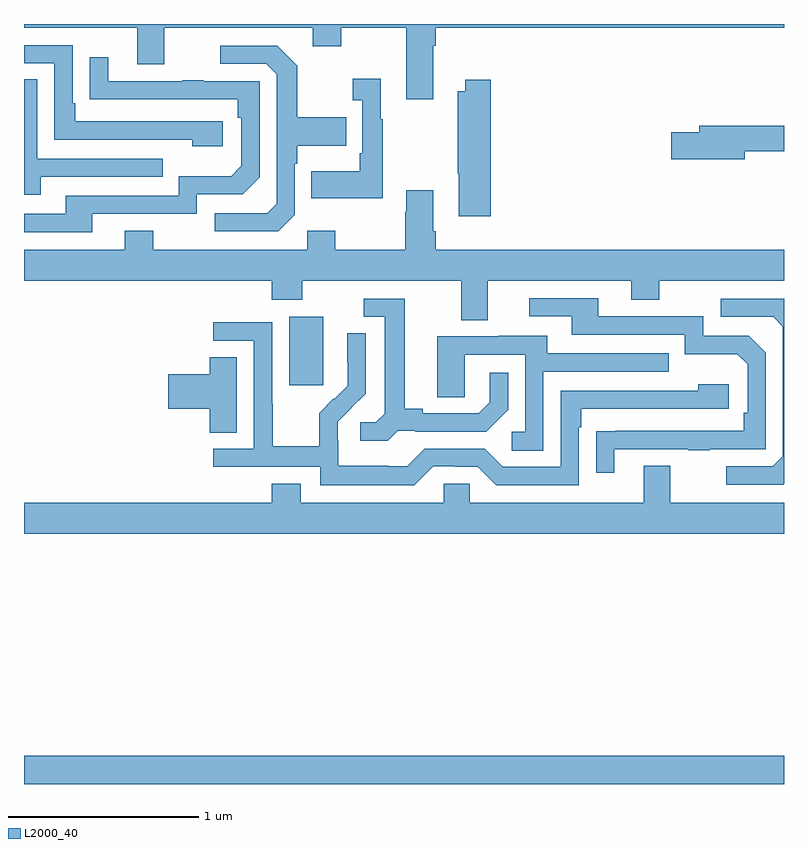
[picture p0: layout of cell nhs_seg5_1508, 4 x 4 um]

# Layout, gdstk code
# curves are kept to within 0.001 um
import gdstk
lib = gdstk.Library(unit=1e-6, precision=1e-09)
def R(c, l, rs):  # rectangles x0, y0, x1, y1
    for r in rs: c.add(gdstk.rectangle(r[:2], r[2:], *l))
def P(c, l, *ps):  # polygons
    for p in ps: c.add(gdstk.Polygon(p, *l))
L2000_40 = (2000, 40)

nhs_seg5_1508 = lib.new_cell('nhs_seg5_1508')
R(nhs_seg5_1508, L2000_40, [(203,832.799,207,832.948), (204.395,834.897,204.574,835.258)])
P(nhs_seg5_1508, L2000_40, [(205.153,836.684),(205.166,836.684),(205.166,836.78),(207,836.78),(207,836.799),(203,836.799),(203,836.78),(203.597,836.78),(203.597,836.586),(203.737,836.586),(203.737,836.78),(204.521,836.78),(204.521,836.681),(204.669,836.681),(204.669,836.78),(205.013,836.78),(205.013,836.403),(205.153,836.403)],
  [(204.046,836.286),(203.269,836.286),(203.269,836.383),(203.256,836.383),(203.256,836.688),(203,836.688),(203,836.592),(203.16,836.592),(203.16,836.19),(203.885,836.19),(203.885,836.156),(204.046,836.156)],
  [(204.426,835.794),(204.426,836.063),(204.439,836.063),(204.439,836.159),(204.695,836.159),(204.695,836.307),(204.439,836.307),(204.439,836.579),(204.333,836.685),(204.033,836.685),(204.033,836.589),(204.276,836.589),(204.33,836.535),(204.33,835.854),(204.279,835.803),(204.003,835.803),(204.003,835.707),(204.339,835.707)],
  [(203.359,835.8),(203.91,835.8),(203.91,835.902),(204.15,835.902),(204.24,835.992),(204.24,836.499),(203.945,836.499),(203.945,836.504),(203.833,836.504),(203.833,836.499),(203.443,836.499),(203.443,836.623),(203.347,836.623),(203.347,836.404),(204.124,836.403),(204.124,836.306),(204.144,836.306),(204.144,836.052),(204.091,835.999),(203.814,835.999),(203.814,835.896),(203.219,835.896),(203.219,835.8),(203,835.8),(203,835.704),(203.359,835.704)],
  [(204.889,836.299),(204.877,836.299),(204.877,836.512),(204.729,836.512),(204.729,836.399),(204.78,836.399),(204.78,836.119),(204.768,836.119),(204.768,836.023),(204.511,836.023),(204.511,835.883),(204.889,835.883)],
  [(203.089,835.995),(203.729,835.995),(203.729,836.091),(203.07,836.091),(203.07,836.507),(203,836.507),(203,835.901),(203.089,835.901)],
  [(205.457,836.506),(205.322,836.506),(205.322,836.446),(205.282,836.446),(205.282,836.011),(205.289,836.011),(205.289,835.788),(205.457,835.788)],
  [(206.794,836.128),(207,836.128),(207,836.264),(206.555,836.264),(206.555,836.228),(206.406,836.228),(206.406,836.086),(206.794,836.086)],
  [(205.441,835.448),(206.195,835.448),(206.195,835.349),(206.343,835.349),(206.343,835.448),(207,835.448),(207,835.612),(205.166,835.612),(205.166,835.708),(205.153,835.708),(205.153,835.924),(205.013,835.924),(205.013,835.811),(205.006,835.811),(205.006,835.612),(204.639,835.612),(204.639,835.711),(204.492,835.711),(204.492,835.612),(203.679,835.612),(203.679,835.711),(203.531,835.711),(203.531,835.612),(203,835.612),(203,835.448),(204.305,835.448),(204.305,835.349),(204.465,835.349),(204.465,835.448),(205.301,835.448),(205.301,835.24),(205.441,835.24)],
  [(206.107,834.561),(206.497,834.561),(206.497,834.556),(206.609,834.556),(206.609,834.561),(206.904,834.561),(206.904,835.068),(206.814,835.158),(206.574,835.158),(206.574,835.26),(206.023,835.26),(206.023,835.356),(205.659,835.356),(205.659,835.26),(205.883,835.26),(205.883,835.164),(206.478,835.164),(206.478,835.061),(206.755,835.061),(206.808,835.008),(206.808,834.754),(206.788,834.754),(206.788,834.657),(206.011,834.656),(206.011,834.438),(206.107,834.438)],
  [(207,834.378),(207,835.353),(206.667,835.353),(206.667,835.257),(206.943,835.257),(206.994,835.206),(206.994,834.525),(206.94,834.471),(206.697,834.471),(206.697,834.375),(206.997,834.375)],
  [(204.966,834.657),(205.06,834.657),(205.06,834.654),(205.432,834.654),(205.548,834.77),(205.548,834.964),(205.451,834.964),(205.451,834.807),(205.394,834.75),(205.099,834.75),(205.099,834.773),(205.003,834.773),(205.003,835.353),(204.789,835.353),(204.789,835.257),(204.899,835.257),(204.899,834.749),(204.852,834.702),(204.771,834.702),(204.771,834.605),(204.914,834.605)],
  [(205.155,834.471),(205.271,834.471),(205.271,834.468),(205.389,834.468),(205.485,834.372),(205.92,834.372),(205.92,834.677),(205.933,834.677),(205.933,834.774),(206.71,834.774),(206.71,834.904),(206.549,834.904),(206.549,834.87),(205.824,834.87),(205.824,834.468),(205.521,834.468),(205.425,834.564),(205.11,834.564),(205.017,834.471),(204.917,834.471),(204.917,834.475),(204.654,834.475),(204.654,834.609),(204.652,834.609),(204.652,834.706),(204.798,834.854),(204.798,835.172),(204.702,835.172),(204.702,835.018),(204.704,835.018),(204.704,834.896),(204.633,834.825),(204.63,834.828),(204.553,834.751),(204.553,834.577),(204.309,834.577),(204.309,834.8),(204.306,834.8),(204.306,835.23),(203.997,835.23),(203.997,835.131),(204.21,835.131),(204.21,834.564),(203.997,834.564),(203.997,834.468),(204.558,834.468),(204.558,834.371),(205.055,834.371)],
  [(205.734,834.969),(206.393,834.969),(206.393,835.065),(205.753,835.065),(205.753,835.159),(205.499,835.159),(205.499,835.155),(205.175,835.155),(205.175,834.835),(205.32,834.835),(205.32,835.059),(205.638,835.059),(205.638,834.654),(205.566,834.654),(205.566,834.553),(205.734,834.553)],
  [(204.121,835.046),(203.978,835.046),(203.978,834.956),(203.76,834.956),(203.76,834.773),(203.978,834.773),(203.978,834.649),(204.121,834.649)],
  [(207,834.28),(206.401,834.28),(206.401,834.475),(206.261,834.475),(206.261,834.28),(205.347,834.28),(205.347,834.378),(205.209,834.378),(205.209,834.28),(204.457,834.28),(204.457,834.379),(204.305,834.379),(204.305,834.28),(203,834.28),(203,834.116),(207,834.116)])

lib.write_gds('nhs_seg5_1508.gds')
